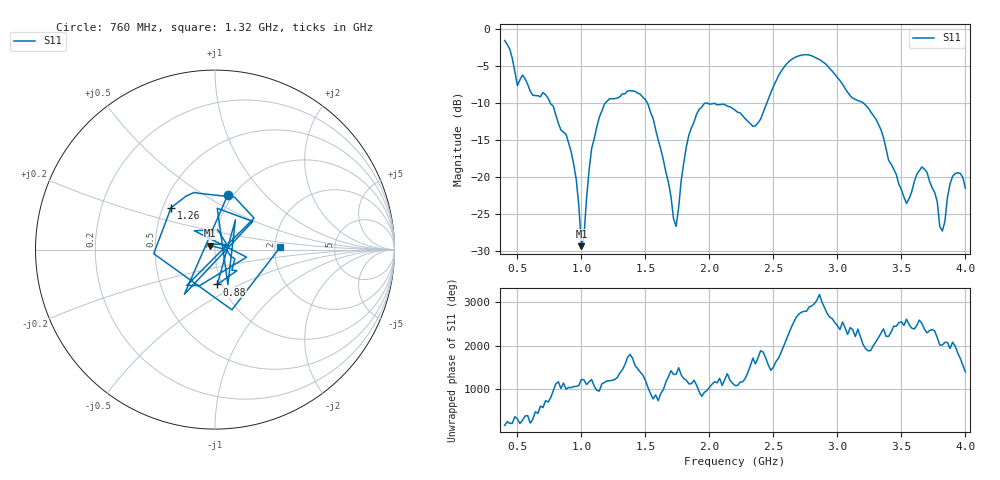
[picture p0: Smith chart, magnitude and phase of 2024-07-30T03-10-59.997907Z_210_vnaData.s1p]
!Created with skrf (http://scikit-rf.org).
# Hz S RI R 50.0
!freq ReS11 ImS11
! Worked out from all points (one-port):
!   181 points, 400 MHz to 4 GHz, reference 50 ohm
!   lowest |S11| = -29.4 dB at 1 GHz (marker M1), VSWR 1.07, Z = 47.4 + j2.1 ohm
!   |S11| at or under -10 dB: 1.515 GHz to 1.974 GHz (458.7 MHz wide, 26.3 % of centre); 1.983 GHz to 2.449 GHz (465.8 MHz wide, 21 % of centre); 3.203 GHz to end of sweep (the widest 3 of 4)
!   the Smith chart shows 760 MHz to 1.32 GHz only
!   S11 on the Smith chart (normalised r, x): 760 MHz: 0.94, +0.64; 880 MHz: 0.95, -0.38; 1.26 GHz: 0.55, +0.29; 1.32 GHz: 2.15, +0.07
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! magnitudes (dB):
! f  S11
! 400 MHz  -1.5
! 500 MHz  -7.6
! 760 MHz  -10.1
! 860 MHz  -13.9
! 880 MHz  -14.2
! 960 MHz  -20.4
! 1 GHz  -29.4
! 1.08 GHz  -16.1
! 1.18 GHz  -10.1
! 1.26 GHz  -9.4
! 1.3 GHz  -9.2
! 1.32 GHz  -8.8
! 1.52 GHz  -10.1
! 1.72 GHz  -25.7
! 1.76 GHz  -24.1
! 1.82 GHz  -15.9
! 1.92 GHz  -10.8
! 2.2 GHz  -10.9
! 2.36 GHz  -13.1
! 2.66 GHz  -3.9
! 2.86 GHz  -4.1
! 3.1 GHz  -9.0
! 3.3 GHz  -12.1
! 3.56 GHz  -22.9
! 3.68 GHz  -18.9
! 3.82 GHz  -27.3
! 3.9 GHz  -19.9
! 4 GHz  -21.5
